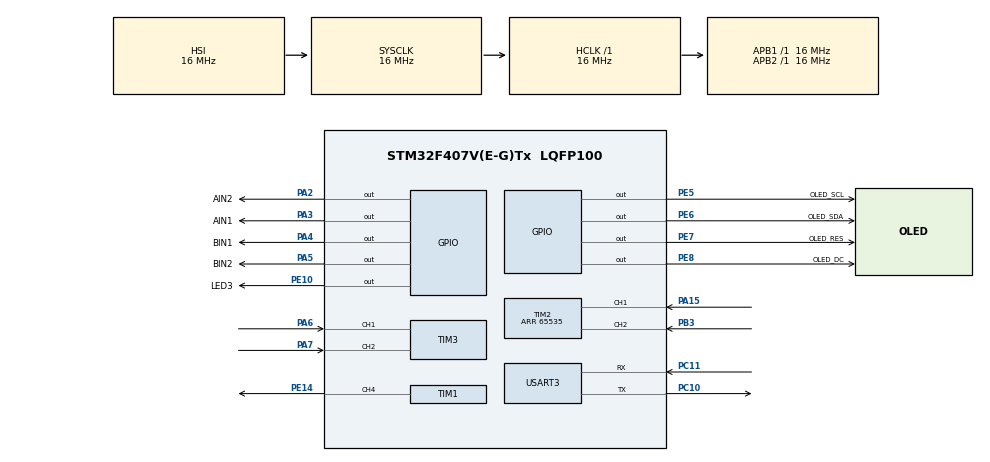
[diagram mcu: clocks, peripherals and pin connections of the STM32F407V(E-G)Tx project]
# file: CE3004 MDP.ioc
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FREERTOS.Tasks01=BlinkLed,24,128,led,Default,NULL,Dynamic,NULL,NULL;DisplayOLED,8,128,display,Default,NULL,Dynamic,NULL,NULL;LeftMotorTask,8,128,left_motor,Default,NULL,Dynamic,NULL,NULL;RightMotorTask,8,128,right_motor,Default,NULL,Dynamic,NULL,NULL;LeftEncoder,8,128,left_encoder_task,Default,NULL,Dynamic,NULL,NULL;RightEncoder,8,128,right_encoder_task,Default,NULL,Dynamic,NULL,NULL;ServoMotor,8,128,servo,Default,NULL,Dynamic,NULL,NULL;UART,8,128,uart,Default,NULL,Dynamic,NULL,NULL;mforward,8,128,forward,Default,NULL,Dynamic,NULL,NULL;pidTask,8,128,pid,Default,NULL,Dynamic,NULL,NULL;getRPS,8,128,getrps,Default,NULL,Dynamic,NULL,NULL
Mcu.Family=STM32F4
Mcu.Name=STM32F407V(E-G)Tx
Mcu.Package=LQFP100
NVIC.PriorityGroup=NVIC_PRIORITYGROUP_4
NVIC.USART3_IRQn=true\:5\:0\:false\:false\:true\:true\:true\:true
PA15.Signal=S_TIM2_CH1_ETR
PA2.GPIO_Label=AIN2
PA2.GPIO_Speed=GPIO_SPEED_FREQ_HIGH
PA2.Signal=GPIO_Output
PA3.GPIO_Label=AIN1
PA3.GPIO_Speed=GPIO_SPEED_FREQ_HIGH
PA3.Signal=GPIO_Output
PA4.GPIO_Label=BIN1
PA4.GPIO_Speed=GPIO_SPEED_FREQ_HIGH
PA4.Signal=GPIO_Output
PA5.GPIO_Label=BIN2
PA5.GPIO_Speed=GPIO_SPEED_FREQ_HIGH
PA5.Signal=GPIO_Output
PA6.Signal=S_TIM3_CH1
PA7.Signal=S_TIM3_CH2
PB3.Signal=S_TIM2_CH2
PC10.Mode=Asynchronous
PC10.Signal=USART3_TX
PC11.Mode=Asynchronous
PC11.Signal=USART3_RX
PC6.GPIO_Label=PWMA
PC6.Signal=S_TIM8_CH1
PC7.GPIO_Label=PWMB
PC7.Signal=S_TIM8_CH2
PE10.GPIO_Label=LED3
PE10.Signal=GPIO_Output
PE14.Signal=S_TIM1_CH4
PE5.GPIO_Label=OLED_SCL
PE5.Signal=GPIO_Output
PE6.GPIO_Label=OLED_SDA
PE6.Signal=GPIO_Output
PE7.GPIO_Label=OLED_RES
PE7.Signal=GPIO_Output
PE8.GPIO_Label=OLED_DC
PE8.Signal=GPIO_Output
ProjectManager.HeapSize=0x200
ProjectManager.StackSize=0x400
ProjectManager.TargetToolchain=STM32CubeIDE
RCC.AHBFreq_Value=16000000
RCC.APB1Freq_Value=16000000
RCC.APB2Freq_Value=16000000
RCC.CortexFreq_Value=16000000
RCC.HSE_VALUE=25000000
RCC.HSI_VALUE=16000000
RCC.LSE_VALUE=32768
RCC.SYSCLKFreq_VALUE=16000000
RCC.VCOOutputFreq_Value=192000000
SH.S_TIM1_CH4.0=TIM1_CH4,PWM Generation4 CH4
SH.S_TIM2_CH1_ETR.0=TIM2_CH1,Encoder_Interface
SH.S_TIM2_CH2.0=TIM2_CH2,Encoder_Interface
SH.S_TIM3_CH1.0=TIM3_CH1,Encoder_Interface
SH.S_TIM3_CH2.0=TIM3_CH2,Encoder_Interface
SH.S_TIM8_CH1.0=TIM8_CH1
SH.S_TIM8_CH2.0=TIM8_CH2
TIM1.AutoReloadPreload=TIM_AUTORELOAD_PRELOAD_ENABLE
TIM1.Channel-PWM\ Generation4\ CH4=TIM_CHANNEL_4
TIM1.Period=1000
TIM1.Prescaler=160
TIM2.EncoderMode=TIM_ENCODERMODE_TI12
TIM2.IC1Filter=10
TIM2.IC2Filter=10
TIM2.Period=65535
TIM3.EncoderMode=TIM_ENCODERMODE_TI12
TIM3.IC1Filter=10
TIM3.IC2Filter=10
TIM8.Channel-PWM\ Generation1\ No\ Output=TIM_CHANNEL_1
TIM8.Channel-PWM\ Generation2\ No\ Output=TIM_CHANNEL_2
TIM8.Period=7199
USART3.VirtualMode=VM_ASYNC
VP_FREERTOS_VS_CMSIS_V2.Mode=CMSIS_V2
VP_TIM1_VS_ClockSourceINT.Mode=Internal
VP_TIM8_VS_ClockSourceINT.Mode=Internal
VP_TIM8_VS_no_output1.Mode=PWM Generation1 No Output
VP_TIM8_VS_no_output2.Mode=PWM Generation2 No Output
board=custom

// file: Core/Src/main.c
/* USER CODE BEGIN Header */
/**
  ******************************************************************************
  * @file           : main.c
  * @brief          : Main program body
  ******************************************************************************
  * @attention
  *
  * Copyright (c) 2022 STMicroelectronics.
  * All rights reserved.
  *
  * This software is licensed under terms that can be found in the LICENSE file
  * in the root directory of this software component.
  * If no LICENSE file comes with this software, it is provided AS-IS.
  *
  ******************************************************************************
  */
/* USER CODE END Header */
#include "main.h"
#include "cmsis_os.h"

/* USER CODE BEGIN Includes */
#include "oled.h"
/* USER CODE END Includes */

TIM_HandleTypeDef htim1;
TIM_HandleTypeDef htim2;
TIM_HandleTypeDef htim3;
TIM_HandleTypeDef htim8;

UART_HandleTypeDef huart3;

/* Definitions for BlinkLed */
osThreadId_t BlinkLedHandle;
const osThreadAttr_t BlinkLed_attributes = {
  .name = "BlinkLed",
  .stack_size = 128 * 4,
  .priority = (osPriority_t) osPriorityNormal,
};
/* Definitions for DisplayOLED */
osThreadId_t DisplayOLEDHandle;
const osThreadAttr_t DisplayOLED_attributes = {
  .name = "DisplayOLED",
  .stack_size = 128 * 4,
  .priority = (osPriority_t) osPriorityLow,
};
/* Definitions for LeftMotorTask */
osThreadId_t LeftMotorTaskHandle;
const osThreadAttr_t LeftMotorTask_attributes = {
  .name = "LeftMotorTask",
  .stack_size = 128 * 4,
  .priority = (osPriority_t) osPriorityLow,
};
/* Definitions for RightMotorTask */
osThreadId_t RightMotorTaskHandle;
const osThreadAttr_t RightMotorTask_attributes = {
  .name = "RightMotorTask",
  .stack_size = 128 * 4,
  .priority = (osPriority_t) osPriorityLow,
};
/* Definitions for LeftEncoder */
osThreadId_t LeftEncoderHandle;
const osThreadAttr_t LeftEncoder_attributes = {
  .name = "LeftEncoder",
  .stack_size = 128 * 4,
  .priority = (osPriority_t) osPriorityLow,
};
/* Definitions for RightEncoder */
osThreadId_t RightEncoderHandle;
const osThreadAttr_t RightEncoder_attributes = {
  .name = "RightEncoder",
  .stack_size = 128 * 4,
  .priority = (osPriority_t) osPriorityLow,
};
/* Definitions for ServoMotor */
osThreadId_t ServoMotorHandle;
const osThreadAttr_t ServoMotor_attributes = {
  .name = "ServoMotor",
  .stack_size = 128 * 4,
  .priority = (osPriority_t) osPriorityLow,
};
/* Definitions for UART */
osThreadId_t UARTHandle;
const osThreadAttr_t UART_attributes = {
  .name = "UART",
  .stack_size = 128 * 4,
  .priority = (osPriority_t) osPriorityLow,
};
/* Definitions for mforward */
osThreadId_t mforwardHandle;
const osThreadAttr_t mforward_attributes = {
  .name = "mforward",
  .stack_size = 128 * 4,
  .priority = (osPriority_t) osPriorityLow,
};
/* Definitions for pidTask */
osThreadId_t pidTaskHandle;
const osThreadAttr_t pidTask_attributes = {
  .name = "pidTask",
  .stack_size = 128 * 4,
  .priority = (osPriority_t) osPriorityLow,
};
/* Definitions for getRPS */
osThreadId_t getRPSHandle;
const osThreadAttr_t getRPS_attributes = {
  .name = "getRPS",
  .stack_size = 128 * 4,
  .priority = (osPriority_t) osPriorityLow,
};

void SystemClock_Config(void);
static void MX_GPIO_Init(void);
static void MX_TIM8_Init(void);
static void MX_TIM2_Init(void);
static void MX_TIM3_Init(void);
static void MX_TIM1_Init(void);
static void MX_USART3_UART_Init(void);
void led(void *argument);
void display(void *argument);
void left_motor(void *argument);
void right_motor(void *argument);
void left_encoder_task(void *argument);
void right_encoder_task(void *argument);
void servo(void *argument);
void uart(void *argument);
void forward(void *argument);
void pid(void *argument);
void getrps(void *argument);

/* USER CODE BEGIN 0 */
uint8_t aRxBuffer[20];
int diff1, diff2;
uint16_t rightpwmVal, leftpwmVal;
const speed = 1000;
osThreadId_t forwardid;
/* USER CODE END 0 */

int main(void)
{

  /* MCU Configuration--------------------------------------------------------*/

  /* Reset of all peripherals, Initializes the Flash interface and the Systick. */
  HAL_Init();

  /* Configure the system clock */
  SystemClock_Config();

  /* Initialize all configured peripherals */
  MX_GPIO_Init();
  MX_TIM8_Init();
  MX_TIM2_Init();
  MX_TIM3_Init();
  MX_TIM1_Init();
  MX_USART3_UART_Init();
  /* USER CODE BEGIN 2 */
  OLED_Init();

  HAL_UART_Receive_IT(&huart3,(uint8_t *) aRxBuffer,10);
  /* USER CODE END 2 */

  /* Init scheduler */
  osKernelInitialize();

  /* Create the thread(s) */
  /* creation of BlinkLed */
  BlinkLedHandle = osThreadNew(led, NULL, &BlinkLed_attributes);

  /* creation of DisplayOLED */
  DisplayOLEDHandle = osThreadNew(display, NULL, &DisplayOLED_attributes);

  /* creation of LeftMotorTask */
//  LeftMotorTaskHandle = osThreadNew(left_motor, NULL, &LeftMotorTask_attributes);

  /* creation of RightMotorTask */
//  RightMotorTaskHandle = osThreadNew(right_motor, NULL, &RightMotorTask_attributes);

  /* creation of LeftEncoder */
  LeftEncoderHandle = osThreadNew(left_encoder_task, NULL, &LeftEncoder_attributes);

  /* creation of RightEncoder */
  RightEncoderHandle = osThreadNew(right_encoder_task, NULL, &RightEncoder_attributes);

  /* creation of ServoMotor */
  //ServoMotorHandle = osThreadNew(servo, NULL, &ServoMotor_attributes);

  /* creation of UART */
//  UARTHandle = osThreadNew(uart, NULL, &UART_attributes);

  /* creation of mforward */
  mforwardHandle = osThreadNew(forward, NULL, &mforward_attributes);

  /* creation of pidTask */
  pidTaskHandle = osThreadNew(pid, NULL, &pidTask_attributes);

  /* creation of getRPS */
  getRPSHandle = osThreadNew(getrps, NULL, &getRPS_attributes);

  /* Start scheduler */
  osKernelStart();

  /* We should never get here as control is now taken by the scheduler */
  /* Infinite loop */
  while (1)
  {
	osDelay(5000);
	osThreadTerminate(forwardid);
  }
}

void SystemClock_Config(void)
{
  RCC_OscInitTypeDef RCC_OscInitStruct = {0};
  RCC_ClkInitTypeDef RCC_ClkInitStruct = {0};

  /** Configure the main internal regulator output voltage
  */
  __HAL_RCC_PWR_CLK_ENABLE();
  __HAL_PWR_VOLTAGESCALING_CONFIG(PWR_REGULATOR_VOLTAGE_SCALE1);
  /** Initializes the RCC Oscillators according to the specified parameters
  * in the RCC_OscInitTypeDef structure.
  */
  RCC_OscInitStruct.OscillatorType = RCC_OSCILLATORTYPE_HSI;
  RCC_OscInitStruct.HSIState = RCC_HSI_ON;
  RCC_OscInitStruct.HSICalibrationValue = RCC_HSICALIBRATION_DEFAULT;
  RCC_OscInitStruct.PLL.PLLState = RCC_PLL_NONE;
  if (HAL_RCC_OscConfig(&RCC_OscInitStruct) != HAL_OK)
  {
    Error_Handler();
  }
  /** Initializes the CPU, AHB and APB buses clocks
  */
  RCC_ClkInitStruct.ClockType = RCC_CLOCKTYPE_HCLK|RCC_CLOCKTYPE_SYSCLK
                              |RCC_CLOCKTYPE_PCLK1|RCC_CLOCKTYPE_PCLK2;
  RCC_ClkInitStruct.SYSCLKSource = RCC_SYSCLKSOURCE_HSI;
  RCC_ClkInitStruct.AHBCLKDivider = RCC_SYSCLK_DIV1;
  RCC_ClkInitStruct.APB1CLKDivider = RCC_HCLK_DIV1;
  RCC_ClkInitStruct.APB2CLKDivider = RCC_HCLK_DIV1;

  if (HAL_RCC_ClockConfig(&RCC_ClkInitStruct, FLASH_LATENCY_0) != HAL_OK)
  {
    Error_Handler();
  }
}

static void MX_TIM1_Init(void)
{

  TIM_ClockConfigTypeDef sClockSourceConfig = {0};
  TIM_MasterConfigTypeDef sMasterConfig = {0};
  TIM_OC_InitTypeDef sConfigOC = {0};
  TIM_BreakDeadTimeConfigTypeDef sBreakDeadTimeConfig = {0};

  htim1.Instance = TIM1;
  htim1.Init.Prescaler = 160;
  htim1.Init.CounterMode = TIM_COUNTERMODE_UP;
  htim1.Init.Period = 1000;
  htim1.Init.ClockDivision = TIM_CLOCKDIVISION_DIV1;
  htim1.Init.RepetitionCounter = 0;
  htim1.Init.AutoReloadPreload = TIM_AUTORELOAD_PRELOAD_ENABLE;
  if (HAL_TIM_Base_Init(&htim1) != HAL_OK)
  {
    Error_Handler();
  }
  sClockSourceConfig.ClockSource = TIM_CLOCKSOURCE_INTERNAL;
  if (HAL_TIM_ConfigClockSource(&htim1, &sClockSourceConfig) != HAL_OK)
  {
    Error_Handler();
  }
  if (HAL_TIM_PWM_Init(&htim1) != HAL_OK)
  {
    Error_Handler();
  }
  sMasterConfig.MasterOutputTrigger = TIM_TRGO_RESET;
  sMasterConfig.MasterSlaveMode = TIM_MASTERSLAVEMODE_DISABLE;
  if (HAL_TIMEx_MasterConfigSynchronization(&htim1, &sMasterConfig) != HAL_OK)
  {
    Error_Handler();
  }
  sConfigOC.OCMode = TIM_OCMODE_PWM1;
  sConfigOC.Pulse = 0;
  sConfigOC.OCPolarity = TIM_OCPOLARITY_HIGH;
  sConfigOC.OCFastMode = TIM_OCFAST_DISABLE;
  sConfigOC.OCIdleState = TIM_OCIDLESTATE_RESET;
  sConfigOC.OCNIdleState = TIM_OCNIDLESTATE_RESET;
  if (HAL_TIM_PWM_ConfigChannel(&htim1, &sConfigOC, TIM_CHANNEL_4) != HAL_OK)
  {
    Error_Handler();
  }
  sBreakDeadTimeConfig.OffStateRunMode = TIM_OSSR_DISABLE;
  sBreakDeadTimeConfig.OffStateIDLEMode = TIM_OSSI_DISABLE;
  sBreakDeadTimeConfig.LockLevel = TIM_LOCKLEVEL_OFF;
  sBreakDeadTimeConfig.DeadTime = 0;
  sBreakDeadTimeConfig.BreakState = TIM_BREAK_DISABLE;
  sBreakDeadTimeConfig.BreakPolarity = TIM_BREAKPOLARITY_HIGH;
  sBreakDeadTimeConfig.AutomaticOutput = TIM_AUTOMATICOUTPUT_DISABLE;
  if (HAL_TIMEx_ConfigBreakDeadTime(&htim1, &sBreakDeadTimeConfig) != HAL_OK)
  {
    Error_Handler();
  }
  HAL_TIM_MspPostInit(&htim1);

}

static void MX_TIM2_Init(void)
{

  TIM_Encoder_InitTypeDef sConfig = {0};
  TIM_MasterConfigTypeDef sMasterConfig = {0};

  htim2.Instance = TIM2;
  htim2.Init.Prescaler = 0;
  htim2.Init.CounterMode = TIM_COUNTERMODE_UP;
  htim2.Init.Period = 65535;
  htim2.Init.ClockDivision = TIM_CLOCKDIVISION_DIV1;
  htim2.Init.AutoReloadPreload = TIM_AUTORELOAD_PRELOAD_DISABLE;
  sConfig.EncoderMode = TIM_ENCODERMODE_TI12;
  sConfig.IC1Polarity = TIM_ICPOLARITY_RISING;
  sConfig.IC1Selection = TIM_ICSELECTION_DIRECTTI;
  sConfig.IC1Prescaler = TIM_ICPSC_DIV1;
  sConfig.IC1Filter = 10;
  sConfig.IC2Polarity = TIM_ICPOLARITY_RISING;
  sConfig.IC2Selection = TIM_ICSELECTION_DIRECTTI;
  sConfig.IC2Prescaler = TIM_ICPSC_DIV1;
  sConfig.IC2Filter = 10;
  if (HAL_TIM_Encoder_Init(&htim2, &sConfig) != HAL_OK)
  {
    Error_Handler();
  }
  sMasterConfig.MasterOutputTrigger = TIM_TRGO_RESET;
  sMasterConfig.MasterSlaveMode = TIM_MASTERSLAVEMODE_DISABLE;
  if (HAL_TIMEx_MasterConfigSynchronization(&htim2, &sMasterConfig) != HAL_OK)
  {
    Error_Handler();
  }

}

static void MX_TIM3_Init(void)
{

  TIM_Encoder_InitTypeDef sConfig = {0};
  TIM_MasterConfigTypeDef sMasterConfig = {0};

  htim3.Instance = TIM3;
  htim3.Init.Prescaler = 0;
  htim3.Init.CounterMode = TIM_COUNTERMODE_UP;
  htim3.Init.Period = 65535;
  htim3.Init.ClockDivision = TIM_CLOCKDIVISION_DIV1;
  htim3.Init.AutoReloadPreload = TIM_AUTORELOAD_PRELOAD_DISABLE;
  sConfig.EncoderMode = TIM_ENCODERMODE_TI12;
  sConfig.IC1Polarity = TIM_ICPOLARITY_RISING;
  sConfig.IC1Selection = TIM_ICSELECTION_DIRECTTI;
  sConfig.IC1Prescaler = TIM_ICPSC_DIV1;
  sConfig.IC1Filter = 10;
  sConfig.IC2Polarity = TIM_ICPOLARITY_RISING;
  sConfig.IC2Selection = TIM_ICSELECTION_DIRECTTI;
  sConfig.IC2Prescaler = TIM_ICPSC_DIV1;
  sConfig.IC2Filter = 10;
  if (HAL_TIM_Encoder_Init(&htim3, &sConfig) != HAL_OK)
  {
    Error_Handler();
  }
  sMasterConfig.MasterOutputTrigger = TIM_TRGO_RESET;
  sMasterConfig.MasterSlaveMode = TIM_MASTERSLAVEMODE_DISABLE;
  if (HAL_TIMEx_MasterConfigSynchronization(&htim3, &sMasterConfig) != HAL_OK)
  {
    Error_Handler();
  }

}

static void MX_TIM8_Init(void)
{

  TIM_ClockConfigTypeDef sClockSourceConfig = {0};
  TIM_MasterConfigTypeDef sMasterConfig = {0};
  TIM_OC_InitTypeDef sConfigOC = {0};
  TIM_BreakDeadTimeConfigTypeDef sBreakDeadTimeConfig = {0};

  htim8.Instance = TIM8;
  htim8.Init.Prescaler = 0;
  htim8.Init.CounterMode = TIM_COUNTERMODE_UP;
  htim8.Init.Period = 7199;
  htim8.Init.ClockDivision = TIM_CLOCKDIVISION_DIV1;
  htim8.Init.RepetitionCounter = 0;
  htim8.Init.AutoReloadPreload = TIM_AUTORELOAD_PRELOAD_DISABLE;
  if (HAL_TIM_Base_Init(&htim8) != HAL_OK)
  {
    Error_Handler();
  }
  sClockSourceConfig.ClockSource = TIM_CLOCKSOURCE_INTERNAL;
  if (HAL_TIM_ConfigClockSource(&htim8, &sClockSourceConfig) != HAL_OK)
  {
    Error_Handler();
  }
  if (HAL_TIM_PWM_Init(&htim8) != HAL_OK)
  {
    Error_Handler();
  }
  sMasterConfig.MasterOutputTrigger = TIM_TRGO_RESET;
  sMasterConfig.MasterSlaveMode = TIM_MASTERSLAVEMODE_DISABLE;
  if (HAL_TIMEx_MasterConfigSynchronization(&htim8, &sMasterConfig) != HAL_OK)
  {
    Error_Handler();
  }
  sConfigOC.OCMode = TIM_OCMODE_PWM1;
  sConfigOC.Pulse = 0;
  sConfigOC.OCPolarity = TIM_OCPOLARITY_HIGH;
  sConfigOC.OCNPolarity = TIM_OCNPOLARITY_HIGH;
  sConfigOC.OCFastMode = TIM_OCFAST_DISABLE;
  sConfigOC.OCIdleState = TIM_OCIDLESTATE_RESET;
  sConfigOC.OCNIdleState = TIM_OCNIDLESTATE_RESET;
  if (HAL_TIM_PWM_ConfigChannel(&htim8, &sConfigOC, TIM_CHANNEL_1) != HAL_OK)
  {
    Error_Handler();
  }
  if (HAL_TIM_PWM_ConfigChannel(&htim8, &sConfigOC, TIM_CHANNEL_2) != HAL_OK)
  {
    Error_Handler();
  }
  sBreakDeadTimeConfig.OffStateRunMode = TIM_OSSR_DISABLE;
  sBreakDeadTimeConfig.OffStateIDLEMode = TIM_OSSI_DISABLE;
  sBreakDeadTimeConfig.LockLevel = TIM_LOCKLEVEL_OFF;
  sBreakDeadTimeConfig.DeadTime = 0;
  sBreakDeadTimeConfig.BreakState = TIM_BREAK_DISABLE;
  sBreakDeadTimeConfig.BreakPolarity = TIM_BREAKPOLARITY_HIGH;
  sBreakDeadTimeConfig.AutomaticOutput = TIM_AUTOMATICOUTPUT_DISABLE;
  if (HAL_TIMEx_ConfigBreakDeadTime(&htim8, &sBreakDeadTimeConfig) != HAL_OK)
  {
    Error_Handler();
  }

}

static void MX_USART3_UART_Init(void)
{

  huart3.Instance = USART3;
  huart3.Init.BaudRate = 115200;
  huart3.Init.WordLength = UART_WORDLENGTH_8B;
  huart3.Init.StopBits = UART_STOPBITS_1;
  huart3.Init.Parity = UART_PARITY_NONE;
  huart3.Init.Mode = UART_MODE_TX_RX;
  huart3.Init.HwFlowCtl = UART_HWCONTROL_NONE;
  huart3.Init.OverSampling = UART_OVERSAMPLING_16;
  if (HAL_UART_Init(&huart3) != HAL_OK)
  {
    Error_Handler();
  }

}

static void MX_GPIO_Init(void)
{
  GPIO_InitTypeDef GPIO_InitStruct = {0};

  /* GPIO Ports Clock Enable */
  __HAL_RCC_GPIOE_CLK_ENABLE();
  __HAL_RCC_GPIOA_CLK_ENABLE();
  __HAL_RCC_GPIOC_CLK_ENABLE();
  __HAL_RCC_GPIOB_CLK_ENABLE();

  /*Configure GPIO pin Output Level */
  HAL_GPIO_WritePin(GPIOE, OLED_SCL_Pin|OLED_SDA_Pin|OLED_RES_Pin|OLED_DC_Pin
                          |LED3_Pin, GPIO_PIN_RESET);

  /*Configure GPIO pin Output Level */
  HAL_GPIO_WritePin(GPIOA, AIN2_Pin|AIN1_Pin|BIN1_Pin|BIN2_Pin, GPIO_PIN_RESET);

  /*Configure GPIO pins : OLED_SCL_Pin OLED_SDA_Pin OLED_RES_Pin OLED_DC_Pin
                           LED3_Pin */
  GPIO_InitStruct.Pin = OLED_SCL_Pin|OLED_SDA_Pin|OLED_RES_Pin|OLED_DC_Pin
                          |LED3_Pin;
  GPIO_InitStruct.Mode = GPIO_MODE_OUTPUT_PP;
  GPIO_InitStruct.Pull = GPIO_NOPULL;
  GPIO_InitStruct.Speed = GPIO_SPEED_FREQ_LOW;
  HAL_GPIO_Init(GPIOE, &GPIO_InitStruct);

  /*Configure GPIO pins : AIN2_Pin AIN1_Pin BIN1_Pin BIN2_Pin */
  GPIO_InitStruct.Pin = AIN2_Pin|AIN1_Pin|BIN1_Pin|BIN2_Pin;
  GPIO_InitStruct.Mode = GPIO_MODE_OUTPUT_PP;
  GPIO_InitStruct.Pull = GPIO_NOPULL;
  GPIO_InitStruct.Speed = GPIO_SPEED_FREQ_HIGH;
  HAL_GPIO_Init(GPIOA, &GPIO_InitStruct);

}

/* USER CODE BEGIN 4 */
void HAL_UART_RxCpltCallback(UART_HandleTypeDef *huart)
{
	//Prevent unused argument(s) compilation warning
	UNUSED(huart);

	HAL_UART_Transmit(&huart3,(uint8_t *) aRxBuffer,10,0xFFFF);
}
/* USER CODE END 4 */

void led(void *argument)
{
  /* USER CODE BEGIN 5 */
  /* Infinite loop */
  for(;;)
  {
	HAL_GPIO_TogglePin(LED3_GPIO_Port, LED3_Pin);
    osDelay(3000);
  }
  /* USER CODE END 5 */
}

void display(void *argument)
{
  /* USER CODE BEGIN display */
	uint8_t hello[20] = "Hello World!\0";
  /* Infinite loop */
  for(;;)
  {
	  sprintf(hello, "%s", aRxBuffer);
	  OLED_ShowString(10,10,hello); //Write to memory
	  OLED_Refresh_Gram();

    osDelay(1000);
  }
  /* USER CODE END display */
}

void left_motor(void *argument)
{
  /* USER CODE BEGIN left_motor */
	uint16_t leftpwmVal = 0;

	HAL_TIM_PWM_Start(&htim8,TIM_CHANNEL_1);
	/* Infinite loop */
	for(;;)
	{
	  // left motor forward
	  HAL_GPIO_WritePin(GPIOA,AIN2_Pin,GPIO_PIN_RESET);
	  HAL_GPIO_WritePin(GPIOA,AIN1_Pin,GPIO_PIN_SET);
	  __HAL_TIM_SetCompare(&htim8,TIM_CHANNEL_1,leftpwmVal); //Modify the comparison value for the duty cycle
	  osDelay(10);

	  // left motor backward
	  HAL_GPIO_WritePin(GPIOA,AIN2_Pin,GPIO_PIN_SET);
	  HAL_GPIO_WritePin(GPIOA,AIN1_Pin,GPIO_PIN_RESET);
	  __HAL_TIM_SetCompare(&htim8,TIM_CHANNEL_1,leftpwmVal); //Modify the comparison value for the duty cycle
	  osDelay(10);

	  /*//Backward
	  while(leftpwmVal < 4000){
		  HAL_GPIO_WritePin(GPIOA,AIN2_Pin,GPIO_PIN_SET);
		  HAL_GPIO_WritePin(GPIOA,AIN1_Pin,GPIO_PIN_RESET);
		  leftpwmVal++;
		  __HAL_TIM_SetCompare(&htim8,TIM_CHANNEL_1,leftpwmVal); //Modify the comparison value for the duty cycle
		  osDelay(10);
	  }*/

	  /*//Forward
	  while(leftpwmVal>0){
		  HAL_GPIO_WritePin(GPIOA,AIN2_Pin,GPIO_PIN_RESET);
		  HAL_GPIO_WritePin(GPIOA,AIN1_Pin,GPIO_PIN_SET);
		  leftpwmVal--;
		  __HAL_TIM_SetCompare(&htim8,TIM_CHANNEL_1,leftpwmVal); //Modify the comparison value for the duty cycle
		  osDelay(10);
	  }*/
	osDelay(1);
	}
  /* USER CODE END left_motor */
}

void right_motor(void *argument)
{
  /* USER CODE BEGIN right_motor */
	uint16_t rightpwmVal = 1000;

	HAL_TIM_PWM_Start(&htim8,TIM_CHANNEL_2);
  /* Infinite loop */
  for(;;)
  {
	  //right motor forward
	  HAL_GPIO_WritePin(GPIOA,BIN2_Pin,GPIO_PIN_RESET);
	  HAL_GPIO_WritePin(GPIOA,BIN1_Pin,GPIO_PIN_SET);
	  __HAL_TIM_SetCompare(&htim8,TIM_CHANNEL_2,rightpwmVal); //Modify the comparison value for the duty cycle
	  osDelay(10);

	  //right motor backward
	  HAL_GPIO_WritePin(GPIOA,BIN2_Pin,GPIO_PIN_SET);
	  HAL_GPIO_WritePin(GPIOA,BIN1_Pin,GPIO_PIN_RESET);
	  __HAL_TIM_SetCompare(&htim8,TIM_CHANNEL_2,rightpwmVal); //Modify the comparison value for the duty cycle
	  osDelay(10);

	  /*//Backward
	  while(rightpwmVal < 4000){
		  HAL_GPIO_WritePin(GPIOA,BIN2_Pin,GPIO_PIN_SET);
		  HAL_GPIO_WritePin(GPIOA,BIN1_Pin,GPIO_PIN_RESET);
		  rightpwmVal++;
		  __HAL_TIM_SetCompare(&htim8,TIM_CHANNEL_2,rightpwmVal); //Modify the comparison value for the duty cycle
		  osDelay(10);
	  }*/

	  /*//Forward
	  while(rightpwmVal>0){
		  HAL_GPIO_WritePin(GPIOA,BIN2_Pin,GPIO_PIN_RESET);
		  HAL_GPIO_WritePin(GPIOA,BIN1_Pin,GPIO_PIN_SET);
		  rightpwmVal--;
		  __HAL_TIM_SetCompare(&htim8,TIM_CHANNEL_2,rightpwmVal); //Modify the comparison value for the duty cycle
		  osDelay(10);
	  }*/
    osDelay(1);
  }
  /* USER CODE END right_motor */
}

void left_encoder_task(void *argument)
{
  /* USER CODE BEGIN left_encoder_task */
	HAL_TIM_Encoder_Start(&htim2,TIM_CHANNEL_ALL);

	int count1, count2;
	uint32_t tick;
	uint16_t dir;

	count1 = __HAL_TIM_GET_COUNTER(&htim2);
	tick = HAL_GetTick();
	uint8_t hello[20];

  /* Infinite loop */
  for(;;)
  {
	  if (HAL_GetTick() - tick > 1000){
		  count2 = __HAL_TIM_GET_COUNTER(&htim2);
		  if(__HAL_TIM_IS_TIM_COUNTING_DOWN(&htim2)){
			  if (count2 < count1){
				  diff1 = count1 - count2;
			  }
			  else diff1 = (65535 - count2) + count1;
		  }
		  else{
			  if (count2 > count1){
				  diff1 = count2 - count1;
			  }
			  else diff1 = (65535 - count1) + count2;
		  }

		  sprintf(hello, "Speed:%5d", diff1); //Show speed
		  OLED_ShowString(10,20,hello);

		  dir = __HAL_TIM_IS_TIM_COUNTING_DOWN(&htim2); //Show direction
		  sprintf(hello, "Direction:%5d", dir);
		  OLED_ShowString(10,30,hello);

		  count1 = __HAL_TIM_GET_COUNTER(&htim2);
		  tick = HAL_GetTick();
	  }
    osDelay(1);
  }
  /* USER CODE END left_encoder_task */
}

void right_encoder_task(void *argument)
{
  /* USER CODE BEGIN right_encoder_task */
	HAL_TIM_Encoder_Start(&htim3,TIM_CHANNEL_ALL);

	int count1, count2;
	uint32_t tick;
	uint16_t dir;

	count1 = __HAL_TIM_GET_COUNTER(&htim3);
	tick = HAL_GetTick();
	uint8_t hello[20];
  /* Infinite loop */
  for(;;)
  {
	  if (HAL_GetTick() - tick > 1000){
		  count2 = __HAL_TIM_GET_COUNTER(&htim3);
		  if(__HAL_TIM_IS_TIM_COUNTING_DOWN(&htim3)){
			  if (count2 < count1){
				  diff2 = count1 - count2;
			  }
			  else diff2 = (65535 - count2) + count1;
		  }
		  else{
			  if (count2 > count1){
				  diff2 = count2 - count1;
			  }
			  else diff2 = (65535 - count1) + count2;
		  }

		  sprintf(hello, "Speed:%5d", diff2); //Show speed
		  OLED_ShowString(10,40,hello);

		  dir = __HAL_TIM_IS_TIM_COUNTING_DOWN(&htim3); //Show direction
		  sprintf(hello, "Direction:%5d", dir);
		  OLED_ShowString(10,50,hello);

		  count1 = __HAL_TIM_GET_COUNTER(&htim3);
		  tick = HAL_GetTick();
	  }
    osDelay(1);
  }
  /* USER CODE END right_encoder_task */
}

void servo(void *argument)
{
  /* USER CODE BEGIN servo */
	HAL_TIM_PWM_Start(&htim1,TIM_CHANNEL_4);
  /* Infinite loop */
  for(;;)
  {
	htim1.Instance->CCR4 = 100;  //Extreme left
    osDelay(5000);
    htim1.Instance->CCR4 = 148; //Center
    osDelay(5000);
	htim1.Instance->CCR4 = 196; //Extreme right
	osDelay(5000);
	htim1.Instance->CCR4 = 148; //Center
	osDelay(5000);
  }
  /* USER CODE END servo */
}

void uart(void *argument)
{
  /* USER CODE BEGIN uart */
	uint8_t ch = 'A';
  /* Infinite loop */
  for(;;)
  {
	HAL_UART_Transmit(&huart3,(uint8_t *)&ch,1,0xFFFF);
	if (ch<'Z') ch++;
	else ch = 'A';
    osDelay(1);
  }
  /* USER CODE END uart */
}

void forward(void *argument)
{
  /* USER CODE BEGIN forward */
	uint16_t hello[20];

	forwardid = osThreadGetId();

	rightpwmVal = speed;
	leftpwmVal = speed;

	HAL_TIM_PWM_Start(&htim8,TIM_CHANNEL_1);
	HAL_TIM_PWM_Start(&htim8,TIM_CHANNEL_2);
	HAL_TIM_PWM_Start(&htim1,TIM_CHANNEL_4);

  /* Infinite loop */
  for(;;)
  {
	  htim1.Instance->CCR4 = 148; //left

	  //right motor forward
	  HAL_GPIO_WritePin(GPIOA,BIN2_Pin,GPIO_PIN_RESET);
	  HAL_GPIO_WritePin(GPIOA,BIN1_Pin,GPIO_PIN_SET);
	  __HAL_TIM_SetCompare(&htim8,TIM_CHANNEL_2,rightpwmVal); //Modify the comparison value for the duty cycle

	  // left motor forward
	  HAL_GPIO_WritePin(GPIOA,AIN2_Pin,GPIO_PIN_RESET);
	  HAL_GPIO_WritePin(GPIOA,AIN1_Pin,GPIO_PIN_SET);
	  __HAL_TIM_SetCompare(&htim8,TIM_CHANNEL_1,leftpwmVal); //Modify the comparison value for the duty cycle

    osDelay(10);
  }
  /* USER CODE END forward */
}

void pid(void *argument)
{
  /* USER CODE BEGIN pid */
	int x,y;
  /* Infinite loop */
  for(;;)
  {
	x = speed-diff2;
	if (x<-100) rightpwmVal-=10;
	else if(-100<=x && x<0) rightpwmVal-=2;
	else if(0<x && x<100) rightpwmVal+=2;
	else if(100<=x) rightpwmVal+=10;

	y = speed-diff1;
	if (y<-100) leftpwmVal-=10;
	else if(-100<=y && y<0) leftpwmVal-=2;
	else if(0<y && y<100) leftpwmVal+=2;
	else if(100<=y) leftpwmVal+=10;

	if (diff1>(speed+500) || diff2>(speed+500)){
		leftpwmVal = rightpwmVal = speed;
	}
    osDelay(50);
  }
  /* USER CODE END pid */
}

void getrps(void *argument)
{
  /* USER CODE BEGIN getrps */
	//Wheel circum = 21.05cm

	uint8_t hello[20];
	int count1, count2, rps;
	uint32_t tick;

	count1 = __HAL_TIM_GET_COUNTER(&htim3);
	tick = HAL_GetTick();
  /* Infinite loop */
	for(;;)
	  {
		  if (HAL_GetTick() - tick > 1000){
			  count2 = __HAL_TIM_GET_COUNTER(&htim3);
			  if(__HAL_TIM_IS_TIM_COUNTING_DOWN(&htim3)){
				  if (count2 < count1){
					  rps = count1 - count2;
				  }
				  else rps = (65535 - count2) + count1;
			  }
			  else{
				  if (count2 > count1){
					  rps = count2 - count1;
				  }
				  else rps = (65535 - count1) + count2;
			  }

			  sprintf(hello, "rps:%5d", rps); //Show speed
			  OLED_ShowString(10,10,hello);

			  count1 = __HAL_TIM_GET_COUNTER(&htim3);
			  tick = HAL_GetTick();
		  }
	    osDelay(1);
	  }
  /* USER CODE END getrps */
}

void Error_Handler(void)
{
  __disable_irq();
  while (1)
  {
  }
}
